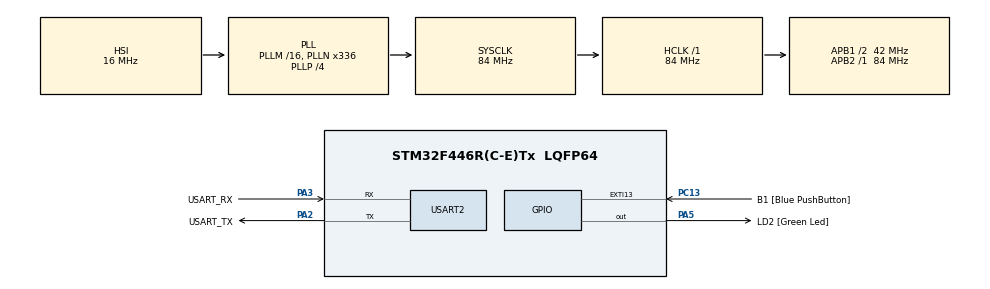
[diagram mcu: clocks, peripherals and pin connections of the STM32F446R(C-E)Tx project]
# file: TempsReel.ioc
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FREERTOS.Tasks01=ledBlink,0,128,ledBlinkTask,Default,NULL,Dynamic,NULL,NULL
FREERTOS.configUSE_TRACE_FACILITY=1
Mcu.Family=STM32F4
Mcu.Name=STM32F446R(C-E)Tx
Mcu.Package=LQFP64
NVIC.PriorityGroup=NVIC_PRIORITYGROUP_4
NVIC.TIM1_UP_TIM10_IRQn=true\:0\:0\:false\:false\:true\:false\:false\:true
NVIC.TimeBase=TIM1_UP_TIM10_IRQn
NVIC.TimeBaseIP=TIM1
PA13.GPIO_Label=TMS
PA13.Mode=Serial_Wire
PA13.Signal=SYS_JTMS-SWDIO
PA14.GPIO_Label=TCK
PA14.Mode=Serial_Wire
PA14.Signal=SYS_JTCK-SWCLK
PA2.GPIO_Label=USART_TX
PA2.Mode=Asynchronous
PA2.Signal=USART2_TX
PA3.GPIO_Label=USART_RX
PA3.Mode=Asynchronous
PA3.Signal=USART2_RX
PA5.GPIO_Label=LD2 [Green Led]
PA5.Signal=GPIO_Output
PB3.GPIO_Label=SWO
PB3.Signal=SYS_JTDO-SWO
PC13.GPIO_Label=B1 [Blue PushButton]
PC13.GPIO_ModeDefaultEXTI=GPIO_MODE_IT_FALLING
PC13.Signal=GPXTI13
PC14-OSC32_IN.Mode=LSE-External-Oscillator
PC14-OSC32_IN.Signal=RCC_OSC32_IN
PC15-OSC32_OUT.Mode=LSE-External-Oscillator
PC15-OSC32_OUT.Signal=RCC_OSC32_OUT
PH0-OSC_IN.Mode=HSE-External-Oscillator
PH0-OSC_IN.Signal=RCC_OSC_IN
PH1-OSC_OUT.Mode=HSE-External-Oscillator
PH1-OSC_OUT.Signal=RCC_OSC_OUT
ProjectManager.HeapSize=0x200
ProjectManager.StackSize=0x400
ProjectManager.TargetToolchain=STM32CubeIDE
RCC.48MHZClocksFreq_Value=84000000
RCC.AHBFreq_Value=84000000
RCC.APB1CLKDivider=RCC_HCLK_DIV2
RCC.APB1Freq_Value=42000000
RCC.APB1TimFreq_Value=84000000
RCC.APB2Freq_Value=84000000
RCC.APB2TimFreq_Value=84000000
RCC.CortexFreq_Value=84000000
RCC.FLatency-AdvancedSettings=FLASH_LATENCY_2
RCC.HCLKFreq_Value=84000000
RCC.HSE_VALUE=8000000
RCC.HSI_VALUE=16000000
RCC.PLLN=336
RCC.PLLP=RCC_PLLP_DIV4
RCC.SYSCLKFreq_VALUE=84000000
RCC.SYSCLKSource=RCC_SYSCLKSOURCE_PLLCLK
RCC.USBFreq_Value=168000000
RCC.VCOOutputFreq_Value=336000000
USART2.VirtualMode=VM_ASYNC
VP_FREERTOS_VS_CMSIS_V1.Mode=CMSIS_V1
VP_SYS_VS_tim1.Mode=TIM1
board=NUCLEO-F446RE

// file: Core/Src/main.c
/* USER CODE BEGIN Header */
/**
  ******************************************************************************
  * @file           : main.c
  * @brief          : Main program body
  ******************************************************************************
  * @attention
  *
  * <h2><center>&copy; Copyright (c) 2020 STMicroelectronics.
  * All rights reserved.</center></h2>
  *
  * This software component is licensed by ST under BSD 3-Clause license,
  * the "License"; You may not use this file except in compliance with the
  * License. You may obtain a copy of the License at:
  *                        opensource.org/licenses/BSD-3-Clause
  *
  ******************************************************************************
  */
/* USER CODE END Header */
#include "main.h"
#include "cmsis_os.h"

UART_HandleTypeDef huart2;

osThreadId ledBlinkHandle;

void SystemClock_Config(void);
static void MX_GPIO_Init(void);
static void MX_USART2_UART_Init(void);
void ledBlinkTask(void const * argument);

/* USER CODE BEGIN 0 */
#define PRINTF(...) VirtualCOM_Transmit(__VA_ARGS__)

void VirtualCOM_Transmit( char *format, ... ) {
	char buffer[128];
	uint32_t i=0;
	va_list args;
	va_start(args, format);
	vsprintf(buffer,format,args);

	for(i=0;i<strlen(buffer);i++) {
		while( ((huart2.Instance->SR) & UART_FLAG_TXE) == 0 );
		huart2.Instance->DR=buffer[i];
	}
	va_end(args);
}
/* USER CODE END 0 */

int main(void)
{

  /* MCU Configuration--------------------------------------------------------*/

  /* Reset of all peripherals, Initializes the Flash interface and the Systick. */
  HAL_Init();

  /* Configure the system clock */
  SystemClock_Config();

  /* Initialize all configured peripherals */
  MX_GPIO_Init();
  MX_USART2_UART_Init();
  /* USER CODE BEGIN 2 */
  vTraceEnable(TRC_START);
  /* USER CODE END 2 */

  /* Create the thread(s) */
  /* definition and creation of ledBlink */
  osThreadDef(ledBlink, ledBlinkTask, osPriorityNormal, 0, 128);
  ledBlinkHandle = osThreadCreate(osThread(ledBlink), NULL);

  /* Start scheduler */
  osKernelStart();

  /* We should never get here as control is now taken by the scheduler */
  /* Infinite loop */
  while (1)
  {

  }
}

void SystemClock_Config(void)
{
  RCC_OscInitTypeDef RCC_OscInitStruct = {0};
  RCC_ClkInitTypeDef RCC_ClkInitStruct = {0};

  /** Configure the main internal regulator output voltage
  */
  __HAL_RCC_PWR_CLK_ENABLE();
  __HAL_PWR_VOLTAGESCALING_CONFIG(PWR_REGULATOR_VOLTAGE_SCALE3);
  /** Initializes the RCC Oscillators according to the specified parameters
  * in the RCC_OscInitTypeDef structure.
  */
  RCC_OscInitStruct.OscillatorType = RCC_OSCILLATORTYPE_HSI;
  RCC_OscInitStruct.HSIState = RCC_HSI_ON;
  RCC_OscInitStruct.HSICalibrationValue = RCC_HSICALIBRATION_DEFAULT;
  RCC_OscInitStruct.PLL.PLLState = RCC_PLL_ON;
  RCC_OscInitStruct.PLL.PLLSource = RCC_PLLSOURCE_HSI;
  RCC_OscInitStruct.PLL.PLLM = 16;
  RCC_OscInitStruct.PLL.PLLN = 336;
  RCC_OscInitStruct.PLL.PLLP = RCC_PLLP_DIV4;
  RCC_OscInitStruct.PLL.PLLQ = 2;
  RCC_OscInitStruct.PLL.PLLR = 2;
  if (HAL_RCC_OscConfig(&RCC_OscInitStruct) != HAL_OK)
  {
    Error_Handler();
  }
  /** Initializes the CPU, AHB and APB buses clocks
  */
  RCC_ClkInitStruct.ClockType = RCC_CLOCKTYPE_HCLK|RCC_CLOCKTYPE_SYSCLK
                              |RCC_CLOCKTYPE_PCLK1|RCC_CLOCKTYPE_PCLK2;
  RCC_ClkInitStruct.SYSCLKSource = RCC_SYSCLKSOURCE_PLLCLK;
  RCC_ClkInitStruct.AHBCLKDivider = RCC_SYSCLK_DIV1;
  RCC_ClkInitStruct.APB1CLKDivider = RCC_HCLK_DIV2;
  RCC_ClkInitStruct.APB2CLKDivider = RCC_HCLK_DIV1;

  if (HAL_RCC_ClockConfig(&RCC_ClkInitStruct, FLASH_LATENCY_2) != HAL_OK)
  {
    Error_Handler();
  }
}

static void MX_USART2_UART_Init(void)
{

  huart2.Instance = USART2;
  huart2.Init.BaudRate = 115200;
  huart2.Init.WordLength = UART_WORDLENGTH_8B;
  huart2.Init.StopBits = UART_STOPBITS_1;
  huart2.Init.Parity = UART_PARITY_NONE;
  huart2.Init.Mode = UART_MODE_TX_RX;
  huart2.Init.HwFlowCtl = UART_HWCONTROL_NONE;
  huart2.Init.OverSampling = UART_OVERSAMPLING_16;
  if (HAL_UART_Init(&huart2) != HAL_OK)
  {
    Error_Handler();
  }

}

static void MX_GPIO_Init(void)
{
  GPIO_InitTypeDef GPIO_InitStruct = {0};

  /* GPIO Ports Clock Enable */
  __HAL_RCC_GPIOC_CLK_ENABLE();
  __HAL_RCC_GPIOH_CLK_ENABLE();
  __HAL_RCC_GPIOA_CLK_ENABLE();
  __HAL_RCC_GPIOB_CLK_ENABLE();

  /*Configure GPIO pin Output Level */
  HAL_GPIO_WritePin(LD2_GPIO_Port, LD2_Pin, GPIO_PIN_RESET);

  /*Configure GPIO pin : B1_Pin */
  GPIO_InitStruct.Pin = B1_Pin;
  GPIO_InitStruct.Mode = GPIO_MODE_IT_FALLING;
  GPIO_InitStruct.Pull = GPIO_NOPULL;
  HAL_GPIO_Init(B1_GPIO_Port, &GPIO_InitStruct);

  /*Configure GPIO pin : LD2_Pin */
  GPIO_InitStruct.Pin = LD2_Pin;
  GPIO_InitStruct.Mode = GPIO_MODE_OUTPUT_PP;
  GPIO_InitStruct.Pull = GPIO_NOPULL;
  GPIO_InitStruct.Speed = GPIO_SPEED_FREQ_LOW;
  HAL_GPIO_Init(LD2_GPIO_Port, &GPIO_InitStruct);

}

void ledBlinkTask(void const * argument)
{
  /* USER CODE BEGIN 5 */
  traceString myChannel = xTraceRegisterString("UART2");
  /* Infinite loop */
  for(;;)
  {
	  vTracePrint(myChannel, "Start UART TRANSMIT");
	  PRINTF("Coucou\r\n");
	  HAL_GPIO_TogglePin(LD2_GPIO_Port, LD2_Pin);
	  osDelay(50);
  }
  /* USER CODE END 5 */
}

void HAL_TIM_PeriodElapsedCallback(TIM_HandleTypeDef *htim)
{
  if (htim->Instance == TIM1) {
    HAL_IncTick();
  }
}

void Error_Handler(void)
{
}

/************************ (C) COPYRIGHT STMicroelectronics *****END OF FILE****/
